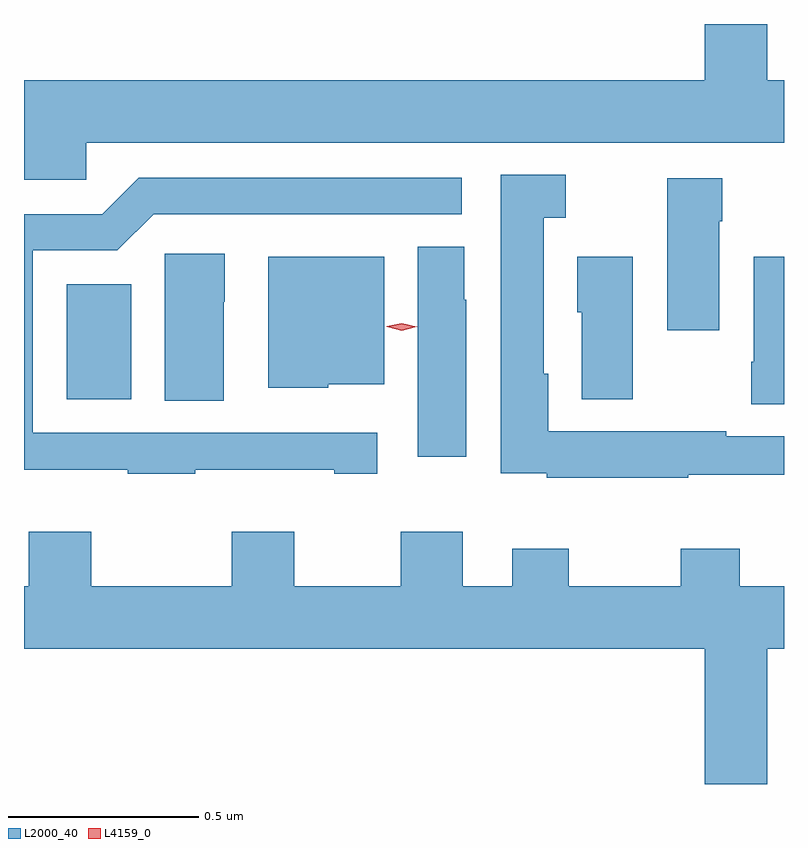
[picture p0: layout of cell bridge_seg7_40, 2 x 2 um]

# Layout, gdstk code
import gdstk
lib = gdstk.Library(unit=1e-6, precision=1e-09)
def R(c, l, rs):  # rectangles x0, y0, x1, y1
    for r in rs: c.add(gdstk.rectangle(r[:2], r[2:], *l))
def P(c, l, *ps):  # polygons
    for p in ps: c.add(gdstk.Polygon(p, *l))
L2000_40 = (2000, 40)
L4159_0 = (4159, 0)

bridge_seg7_40 = lib.new_cell('bridge_seg7_40')
R(bridge_seg7_40, L2000_40, [(894.596,1055.885,894.766,1056.187)])
P(bridge_seg7_40, L2000_40, [(894.648,1056.56),(896.484,1056.56),(896.484,1056.724),(896.44,1056.724),(896.44,1056.872),(896.276,1056.872),(896.276,1056.724),(894.484,1056.724),(894.484,1056.56),(894.485,1056.56),(894.485,1056.462),(894.648,1056.462)],
  [(896.232,1055.686),(896.484,1055.686),(896.484,1055.787),(896.332,1055.787),(896.332,1055.8),(895.864,1055.8),(895.864,1055.952),(895.852,1055.952),(895.852,1056.362),(895.909,1056.362),(895.909,1056.475),(895.739,1056.475),(895.739,1055.69),(895.86,1055.69),(895.86,1055.678),(896.232,1055.678)],
  [(894.935,1055.699),(895.301,1055.699),(895.301,1055.688),(895.414,1055.688),(895.414,1055.796),(894.507,1055.796),(894.507,1056.276),(894.729,1056.276),(894.825,1056.372),(895.636,1056.372),(895.636,1056.468),(894.786,1056.468),(894.69,1056.372),(894.484,1056.372),(894.484,1055.699),(894.757,1055.699),(894.757,1055.688),(894.935,1055.688)],
  [(896.314,1056.353),(896.322,1056.353),(896.322,1056.466),(896.177,1056.466),(896.177,1056.066),(896.314,1056.066)],
  [(895.648,1056.147),(895.642,1056.147),(895.642,1056.286),(895.52,1056.286),(895.52,1055.733),(895.648,1055.733)],
  [(895.009,1056.141),(895.012,1056.141),(895.012,1056.268),(894.854,1056.268),(894.854,1055.881),(895.009,1055.881)],
  [(896.484,1056.259),(896.405,1056.259),(896.405,1055.983),(896.398,1055.983),(896.398,1055.872),(896.484,1055.872)],
  [(896.086,1056.259),(895.94,1056.259),(895.94,1056.114),(895.952,1056.114),(895.952,1055.885),(896.086,1055.885)],
  [(895.284,1055.924),(895.432,1055.924),(895.432,1056.259),(895.127,1056.259),(895.127,1055.915),(895.284,1055.915)],
  [(896.44,1055.228),(896.484,1055.228),(896.484,1055.392),(896.367,1055.392),(896.367,1055.491),(896.212,1055.491),(896.212,1055.392),(895.917,1055.392),(895.917,1055.491),(895.769,1055.491),(895.769,1055.392),(895.639,1055.392),(895.639,1055.536),(895.475,1055.536),(895.475,1055.392),(895.195,1055.392),(895.195,1055.536),(895.031,1055.536),(895.031,1055.392),(894.661,1055.392),(894.661,1055.536),(894.497,1055.536),(894.497,1055.392),(894.484,1055.392),(894.484,1055.228),(896.276,1055.228),(896.276,1054.872),(896.44,1054.872)])
P(bridge_seg7_40, L4159_0, [(895.478,1056.065),(895.438,1056.075),(895.438,1056.076),(895.438,1056.076),(895.478,1056.085),(895.518,1056.075),(895.519,1056.075),(895.518,1056.075)])

lib.write_gds('bridge_seg7_40.gds')
